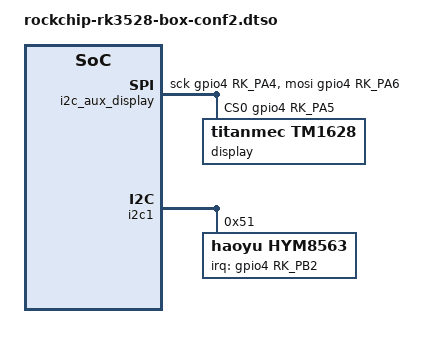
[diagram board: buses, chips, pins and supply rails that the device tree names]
/dts-v1/;
/plugin/;

#include <dt-bindings/gpio/gpio.h>
#include <dt-bindings/input/input.h>
#include <dt-bindings/pinctrl/rockchip.h>
#include <dt-bindings/leds/common.h>
#include <dt-bindings/interrupt-controller/irq.h>

/**
 * rk3528 tv box board with signature RK3528-X88PRO13 and similar
 * models
 */

 &{/} {

	 model = "RK3528-X88PRO-13-D4";

	 i2c_aux_display: i2c-aux-display {

		 compatible = "spi-gpio";

		 sck-gpios = <&gpio4 RK_PA4 GPIO_ACTIVE_HIGH>;
		 mosi-gpios = <&gpio4 RK_PA6 GPIO_ACTIVE_HIGH>;
		 cs-gpios = <&gpio4 RK_PA5 GPIO_ACTIVE_HIGH>;

		 num-chipselects = <1>;

		 spi-3wire;
		 spi-lsb-first;
		 spi-max-frequency = <500000>;

		 #address-cells = <1>;
		 #size-cells = <0>;

		 display@0 {

			 compatible = "titanmec,tm1628";
			 reg = <0x0>;

			 digits {
				 #address-cells = <1>;
				 #size-cells = <0>;

				 digit@0 {
					 reg = <0>;
					 segments = <1 0>, <1 1>, <1 2>, <1 3>, <1 4>, <1 5>, <1 6>;
				 };

				 digit@1 {
					 reg = <1>;
					 segments = <2 0>, <2 1>, <2 2>, <2 3>, <2 4>, <2 5>, <2 6>;
				 };

				 digit@2 {
					 reg = <2>;
					 segments = <3 0>, <3 1>, <3 2>, <3 3>, <3 4>, <3 5>, <3 6>;
				 };

				 digit@3 {
					 reg = <3>;
					 segments = <4 0>, <4 1>, <4 2>, <4 3>, <4 4>, <4 5>, <4 6>;

				 };

			 };

			 leds {
				 #address-cells = <2>;
				 #size-cells = <0>;

				 led@0,0 {
					 reg = <0 0>;
					 function = LED_FUNCTION_ALARM;
				 };

				 led@0,1 {
					 reg = <0 1>;
					 function = "usb";
					 linux,default-trigger = "usb-host";
				 };

				 led@0,2 {
					 reg = <0 2>;
					 function = "pause";
					 linux,default-trigger = "mmc2";
				 };

				 led@0,3 {
					 reg = <0 3>;
					 function = "play";
					 linux,default-trigger = "mmc0";
				 };

				 led@0,4 {
					 reg = <0 4>;
					 function = "colon";
				 };

				 led@0,5 {
					 reg = <0 5>;
					 function = LED_FUNCTION_LAN;
					 linux,default-trigger = "stmmac-0:02:link";
				 };

				 led@0,6 {
					 reg = <0 6>;
					 function = LED_FUNCTION_WLAN;
					 linux,default-trigger = "mmc1";
				 };

			 };

		 };
	 };

};

&sdhci {
	cap-mmc-highspeed;
	mmc-hs200-1_8v;
};

&sdio0 {
	sd-uhs-sdr104;
};

&sdmmc {
	sd-uhs-sdr12;
	sd-uhs-sdr25;
	sd-uhs-sdr50;
	sd-uhs-ddr50;
	sd-uhs-sdr104;
};

&i2c1 {

	#address-cells = <1>;
	#size-cells = <0>;

	status = "okay";

	hym8563@51 {
		#clock-cells = <0>;
		compatible = "haoyu,hym8563";
		reg = <0x51>;
		interrupt-parent = <&gpio4>;
		interrupts = <RK_PB2 IRQ_TYPE_EDGE_FALLING>;
		pinctrl-names = "default";
		pinctrl-0 = <&hym8563_irq>;
		status = "okay";
	};

};

&pinctrl {

	hym8563 {
		hym8563_irq: hym8563-irq {
			rockchip,pins = <4 RK_PB2 RK_FUNC_GPIO &pcfg_pull_none>;
		};
	};

};

&gpio_leds {

	ir {
		gpios = <&gpio4 RK_PB7 GPIO_ACTIVE_HIGH>;
		linux,default-trigger = "timer";
	};

	power {
		gpios = <&gpio4 RK_PC1 GPIO_ACTIVE_HIGH>;
		linux,default-trigger = "default-on";
		default-state = "on";
		retain-state-suspended;
		retain-state-shutdown;
	};

};

&vcc5v0_host_regulator {
	gpios = <&gpio4 RK_PB4 GPIO_ACTIVE_HIGH>;
};

&vcc5v0_host_en {
	rockchip,pins = <4 RK_PB4 RK_FUNC_GPIO &pcfg_pull_none>;
};
